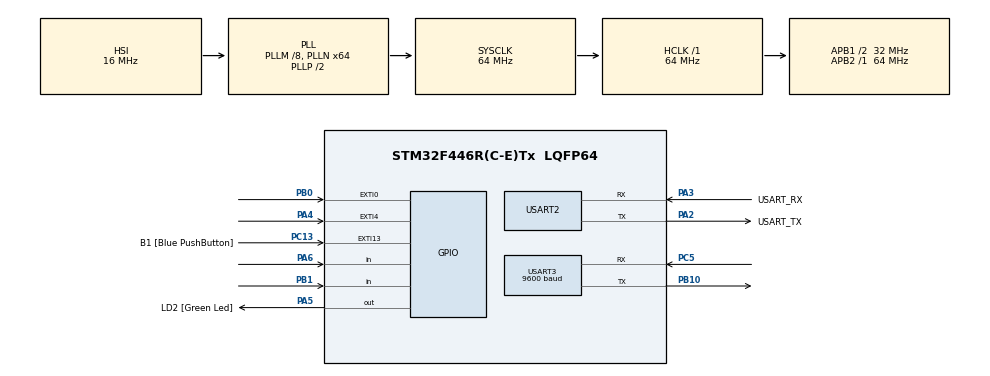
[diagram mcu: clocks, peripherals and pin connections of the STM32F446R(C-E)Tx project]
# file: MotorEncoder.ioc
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Mcu.Family=STM32F4
Mcu.Name=STM32F446R(C-E)Tx
Mcu.Package=LQFP64
NVIC.EXTI0_IRQn=true\:0\:0\:false\:false\:true\:true\:true\:true
NVIC.EXTI4_IRQn=true\:0\:0\:false\:false\:true\:true\:true\:true
NVIC.PriorityGroup=NVIC_PRIORITYGROUP_0
NVIC.TIM3_IRQn=true\:0\:0\:false\:false\:true\:true\:true\:true
NVIC.USART2_IRQn=true\:0\:0\:false\:false\:true\:true\:true\:true
NVIC.USART3_IRQn=true\:0\:0\:false\:false\:true\:true\:true\:true
PA13.GPIO_Label=TMS
PA13.Signal=SYS_JTMS-SWDIO
PA14.GPIO_Label=TCK
PA14.Signal=SYS_JTCK-SWCLK
PA2.GPIO_Label=USART_TX
PA2.Mode=Asynchronous
PA2.Signal=USART2_TX
PA3.GPIO_Label=USART_RX
PA3.Mode=Asynchronous
PA3.Signal=USART2_RX
PA4.Signal=GPXTI4
PA5.GPIO_Label=LD2 [Green Led]
PA5.Signal=GPIO_Output
PA6.Signal=GPIO_Input
PB0.Signal=GPXTI0
PB1.Signal=GPIO_Input
PB10.Mode=Asynchronous
PB10.Signal=USART3_TX
PB3.GPIO_Label=SWO
PB3.Signal=SYS_JTDO-SWO
PC13.GPIO_Label=B1 [Blue PushButton]
PC13.GPIO_ModeDefaultEXTI=GPIO_MODE_IT_FALLING
PC13.Signal=GPXTI13
PC14-OSC32_IN.Signal=RCC_OSC32_IN
PC15-OSC32_OUT.Signal=RCC_OSC32_OUT
PC5.Mode=Asynchronous
PC5.Signal=USART3_RX
PH0-OSC_IN.Mode=HSE-External-Oscillator
PH0-OSC_IN.Signal=RCC_OSC_IN
PH1-OSC_OUT.Mode=HSE-External-Oscillator
PH1-OSC_OUT.Signal=RCC_OSC_OUT
ProjectManager.HeapSize=0x200
ProjectManager.StackSize=0x400
ProjectManager.TargetToolchain=STM32CubeIDE
RCC.AHBFreq_Value=64000000
RCC.APB1CLKDivider=RCC_HCLK_DIV2
RCC.APB1Freq_Value=32000000
RCC.APB1TimFreq_Value=64000000
RCC.APB2Freq_Value=64000000
RCC.APB2TimFreq_Value=64000000
RCC.CortexFreq_Value=64000000
RCC.FLatency-AdvancedSettings=FLASH_LATENCY_2
RCC.HCLKFreq_Value=64000000
RCC.HSE_VALUE=8000000
RCC.HSI_VALUE=16000000
RCC.LSE_VALUE=32768
RCC.PLLM=8
RCC.PLLN=64
RCC.SYSCLKFreq_VALUE=64000000
RCC.SYSCLKSource=RCC_SYSCLKSOURCE_PLLCLK
RCC.USBFreq_Value=64000000
RCC.VCOOutputFreq_Value=128000000
TIM3.Period=10000
TIM3.Prescaler=6399
USART2.VirtualMode=VM_ASYNC
USART3.BaudRate=9600
USART3.VirtualMode=VM_ASYNC
VP_TIM3_VS_ClockSourceINT.Mode=Internal
board=NUCLEO-F446RE

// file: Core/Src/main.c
/* USER CODE BEGIN Header */
/**
  ******************************************************************************
  * @file           : main.c
  * @brief          : Main program body
  ******************************************************************************
  * @attention
  *
  * Copyright (c) 2022 STMicroelectronics.
  * All rights reserved.
  *
  * This software is licensed under terms that can be found in the LICENSE file
  * in the root directory of this software component.
  * If no LICENSE file comes with this software, it is provided AS-IS.
  *
  ******************************************************************************
  */
/* USER CODE END Header */
#include "main.h"

/* USER CODE BEGIN Includes */
#include <math.h>

/* USER CODE END Includes */

/* USER CODE BEGIN PD */
#define DEPLOY
#define PULSES_PER_ROTATION 615
#define SECS_PER_MIN 60
#define FORWARD 48
#define REVERSE 49
#define LEFT 50
#define RIGHT 51

//current instructions for motor controller
uint8_t left;
uint8_t right;

//count of pulses since last velocity calculation
long leftPulse;
long rightPulse;

//last calculated velocity for each side of the rover
float leftVelocity;
float rightVelocity;
float velocities[2];

//constants
const float rpmToAngular = 0.10471975512;
const float wheelRad = 0.079;

/* USER CODE END PD */

TIM_HandleTypeDef htim3;

UART_HandleTypeDef huart2;
UART_HandleTypeDef huart3;

void SystemClock_Config(void);
static void MX_GPIO_Init(void);
static void MX_USART2_UART_Init(void);
static void MX_USART3_UART_Init(void);
static void MX_TIM3_Init(void);

int main(void)
{

  /* MCU Configuration--------------------------------------------------------*/

  /* Reset of all peripherals, Initializes the Flash interface and the Systick. */
  HAL_Init();

  /* Configure the system clock */
  SystemClock_Config();

  /* Initialize all configured peripherals */
  MX_GPIO_Init();
  MX_USART2_UART_Init();
  MX_USART3_UART_Init();
  MX_TIM3_Init();
  /* USER CODE BEGIN 2 */
#ifdef DEPLOY
  uint16_t header = 0;
  uint8_t linear = 0;
  uint8_t angular = 0;
  uint8_t rxBuffer[4];
  uint8_t index = 0;
#endif

#ifdef TEST
  uint8_t rxBuffer = 0;
  uint8_t left = 0;
  uint8_t right = 0;
#endif

  if (HAL_TIM_Base_Start_IT(&htim3) != HAL_OK)
  {
    /* Starting Error */
    Error_Handler();
  }
  /* USER CODE END 2 */

  /* Infinite loop */
  while (1)
  {

    /* USER CODE BEGIN 3 */
#ifdef DEPLOY

	  uint8_t byte;
	  while(!(HAL_UART_Receive(&huart2, &byte, 1, 100) == HAL_OK)){};

	  rxBuffer[3] = byte;

	  header = rxBuffer[0] + rxBuffer[1];
	  linear = rxBuffer[2];
	  angular = rxBuffer[3];

	  if(rxBuffer[0] == 129 &&  rxBuffer[1] ==  129 && rxBuffer[2] != 129 && rxBuffer[3] != 129){

		  //both sides at same speed in same direction
		  if(linear > 0 && linear < 256){
			left = floor(linear/2);
			right = left + 128;
		  //both sides at same speed in opposite directions
		  } else if (angular > 0 && angular < 256){
			left = floor(angular/2);
			right = 256 - left;
			//stop
		  } else {
			 left = 0;
			 right = 0;
		  }

		  HAL_UART_Transmit(&huart3, &left, sizeof(left), 1000);
		  HAL_UART_Transmit(&huart3, &right, sizeof(right), 1000);

	  }

//	  if(rxBuffer[0] == 129 &&  rxBuffer[1] ==  129 && rxBuffer[2] ==  129  && rxBuffer[3] ==  129 ){
//		  //uh oh
//		  right = 0;
//	  }
//
//	  if(rxBuffer[0] == 0 &&  rxBuffer[1] ==  0 && rxBuffer[2] ==  0  && rxBuffer[3] ==  0 ){
//		  //uh oh
//		  right = 0;
//	  }

	  rxBuffer[0] = rxBuffer[1];
	  rxBuffer[1] = rxBuffer[2];
	  rxBuffer[2] = rxBuffer[3];
#endif

#ifdef TEST
	  while(!(HAL_UART_Receive(&huart2, &rxBuffer, 1, 100) == HAL_OK)){};
	  HAL_UART_Transmit(&huart2, &rxBuffer, 1, 1000);

	  if(rxBuffer == FORWARD){
		  left = 127;
		  right = 255;
	  } else if (rxBuffer == REVERSE){
		  left = 1;
		  right = 128;
	  } else if (rxBuffer == LEFT){
		  left = 1;
		  right = 255;
	  } else if (rxBuffer == RIGHT){
		  left = 127;
		  right = 128;
	  } else {
		  left = 0;
		  right = 0;
	  }

	  HAL_UART_Transmit(&huart3, &left, sizeof(left), 1000);
	  HAL_UART_Transmit(&huart3, &right, sizeof(right), 1000);
#endif
  }
  /* USER CODE END 3 */
}

void SystemClock_Config(void)
{
  RCC_OscInitTypeDef RCC_OscInitStruct = {0};
  RCC_ClkInitTypeDef RCC_ClkInitStruct = {0};

  /** Configure the main internal regulator output voltage
  */
  __HAL_RCC_PWR_CLK_ENABLE();
  __HAL_PWR_VOLTAGESCALING_CONFIG(PWR_REGULATOR_VOLTAGE_SCALE3);

  /** Initializes the RCC Oscillators according to the specified parameters
  * in the RCC_OscInitTypeDef structure.
  */
  RCC_OscInitStruct.OscillatorType = RCC_OSCILLATORTYPE_HSI;
  RCC_OscInitStruct.HSIState = RCC_HSI_ON;
  RCC_OscInitStruct.HSICalibrationValue = RCC_HSICALIBRATION_DEFAULT;
  RCC_OscInitStruct.PLL.PLLState = RCC_PLL_ON;
  RCC_OscInitStruct.PLL.PLLSource = RCC_PLLSOURCE_HSI;
  RCC_OscInitStruct.PLL.PLLM = 8;
  RCC_OscInitStruct.PLL.PLLN = 64;
  RCC_OscInitStruct.PLL.PLLP = RCC_PLLP_DIV2;
  RCC_OscInitStruct.PLL.PLLQ = 2;
  RCC_OscInitStruct.PLL.PLLR = 2;
  if (HAL_RCC_OscConfig(&RCC_OscInitStruct) != HAL_OK)
  {
    Error_Handler();
  }

  /** Initializes the CPU, AHB and APB buses clocks
  */
  RCC_ClkInitStruct.ClockType = RCC_CLOCKTYPE_HCLK|RCC_CLOCKTYPE_SYSCLK
                              |RCC_CLOCKTYPE_PCLK1|RCC_CLOCKTYPE_PCLK2;
  RCC_ClkInitStruct.SYSCLKSource = RCC_SYSCLKSOURCE_PLLCLK;
  RCC_ClkInitStruct.AHBCLKDivider = RCC_SYSCLK_DIV1;
  RCC_ClkInitStruct.APB1CLKDivider = RCC_HCLK_DIV2;
  RCC_ClkInitStruct.APB2CLKDivider = RCC_HCLK_DIV1;

  if (HAL_RCC_ClockConfig(&RCC_ClkInitStruct, FLASH_LATENCY_2) != HAL_OK)
  {
    Error_Handler();
  }
}

static void MX_TIM3_Init(void)
{

  TIM_ClockConfigTypeDef sClockSourceConfig = {0};
  TIM_MasterConfigTypeDef sMasterConfig = {0};

  htim3.Instance = TIM3;
  htim3.Init.Prescaler = 6399;
  htim3.Init.CounterMode = TIM_COUNTERMODE_UP;
  htim3.Init.Period = 10000;
  htim3.Init.ClockDivision = TIM_CLOCKDIVISION_DIV1;
  htim3.Init.AutoReloadPreload = TIM_AUTORELOAD_PRELOAD_DISABLE;
  if (HAL_TIM_Base_Init(&htim3) != HAL_OK)
  {
    Error_Handler();
  }
  sClockSourceConfig.ClockSource = TIM_CLOCKSOURCE_INTERNAL;
  if (HAL_TIM_ConfigClockSource(&htim3, &sClockSourceConfig) != HAL_OK)
  {
    Error_Handler();
  }
  sMasterConfig.MasterOutputTrigger = TIM_TRGO_RESET;
  sMasterConfig.MasterSlaveMode = TIM_MASTERSLAVEMODE_DISABLE;
  if (HAL_TIMEx_MasterConfigSynchronization(&htim3, &sMasterConfig) != HAL_OK)
  {
    Error_Handler();
  }

}

static void MX_USART2_UART_Init(void)
{

  huart2.Instance = USART2;
  huart2.Init.BaudRate = 115200;
  huart2.Init.WordLength = UART_WORDLENGTH_8B;
  huart2.Init.StopBits = UART_STOPBITS_1;
  huart2.Init.Parity = UART_PARITY_NONE;
  huart2.Init.Mode = UART_MODE_TX_RX;
  huart2.Init.HwFlowCtl = UART_HWCONTROL_RTS_CTS;
  huart2.Init.OverSampling = UART_OVERSAMPLING_16;
  if (HAL_UART_Init(&huart2) != HAL_OK)
  {
    Error_Handler();
  }

}

static void MX_USART3_UART_Init(void)
{

  huart3.Instance = USART3;
  huart3.Init.BaudRate = 9600;
  huart3.Init.WordLength = UART_WORDLENGTH_8B;
  huart3.Init.StopBits = UART_STOPBITS_1;
  huart3.Init.Parity = UART_PARITY_NONE;
  huart3.Init.Mode = UART_MODE_TX_RX;
  huart3.Init.HwFlowCtl = UART_HWCONTROL_NONE;
  huart3.Init.OverSampling = UART_OVERSAMPLING_16;
  if (HAL_UART_Init(&huart3) != HAL_OK)
  {
    Error_Handler();
  }

}

static void MX_GPIO_Init(void)
{
  GPIO_InitTypeDef GPIO_InitStruct = {0};

  /* GPIO Ports Clock Enable */
  __HAL_RCC_GPIOC_CLK_ENABLE();
  __HAL_RCC_GPIOH_CLK_ENABLE();
  __HAL_RCC_GPIOA_CLK_ENABLE();
  __HAL_RCC_GPIOB_CLK_ENABLE();

  /*Configure GPIO pin Output Level */
  HAL_GPIO_WritePin(LD2_GPIO_Port, LD2_Pin, GPIO_PIN_RESET);

  /*Configure GPIO pin : B1_Pin */
  GPIO_InitStruct.Pin = B1_Pin;
  GPIO_InitStruct.Mode = GPIO_MODE_IT_FALLING;
  GPIO_InitStruct.Pull = GPIO_NOPULL;
  HAL_GPIO_Init(B1_GPIO_Port, &GPIO_InitStruct);

  /*Configure GPIO pin : PA4 */
  GPIO_InitStruct.Pin = GPIO_PIN_4;
  GPIO_InitStruct.Mode = GPIO_MODE_IT_RISING;
  GPIO_InitStruct.Pull = GPIO_NOPULL;
  HAL_GPIO_Init(GPIOA, &GPIO_InitStruct);

  /*Configure GPIO pin : LD2_Pin */
  GPIO_InitStruct.Pin = LD2_Pin;
  GPIO_InitStruct.Mode = GPIO_MODE_OUTPUT_PP;
  GPIO_InitStruct.Pull = GPIO_NOPULL;
  GPIO_InitStruct.Speed = GPIO_SPEED_FREQ_LOW;
  HAL_GPIO_Init(LD2_GPIO_Port, &GPIO_InitStruct);

  /*Configure GPIO pin : PA6 */
  GPIO_InitStruct.Pin = GPIO_PIN_6;
  GPIO_InitStruct.Mode = GPIO_MODE_INPUT;
  GPIO_InitStruct.Pull = GPIO_NOPULL;
  HAL_GPIO_Init(GPIOA, &GPIO_InitStruct);

  /*Configure GPIO pin : PB0 */
  GPIO_InitStruct.Pin = GPIO_PIN_0;
  GPIO_InitStruct.Mode = GPIO_MODE_IT_RISING;
  GPIO_InitStruct.Pull = GPIO_NOPULL;
  HAL_GPIO_Init(GPIOB, &GPIO_InitStruct);

  /*Configure GPIO pin : PB1 */
  GPIO_InitStruct.Pin = GPIO_PIN_1;
  GPIO_InitStruct.Mode = GPIO_MODE_INPUT;
  GPIO_InitStruct.Pull = GPIO_NOPULL;
  HAL_GPIO_Init(GPIOB, &GPIO_InitStruct);

  /* EXTI interrupt init*/
  HAL_NVIC_SetPriority(EXTI0_IRQn, 0, 0);
  HAL_NVIC_EnableIRQ(EXTI0_IRQn);

  HAL_NVIC_SetPriority(EXTI4_IRQn, 0, 0);
  HAL_NVIC_EnableIRQ(EXTI4_IRQn);

}

/* USER CODE BEGIN 4 */
void HAL_GPIO_EXTI_Callback(uint16_t GPIO_Pin){

	//Left side pulse
	if(GPIO_Pin == GPIO_PIN_4){

		//count encoder pulses
		if(HAL_GPIO_ReadPin(GPIOA, GPIO_PIN_6) == GPIO_PIN_SET) {
			leftPulse -= 1;
		} else {
			leftPulse += 1;
		}
	}

	//Right side pulse
	else if(GPIO_Pin == GPIO_PIN_0){

		//count encoder pulses
		if(HAL_GPIO_ReadPin(GPIOB, GPIO_PIN_1) == GPIO_PIN_SET) {
			rightPulse += 1;
		} else {
			rightPulse -= 1;
		}

	}
}

void HAL_TIM_PeriodElapsedCallback(TIM_HandleTypeDef *htim)
{
  // Check which version of the timer triggered this callback and toggle LED
  if (htim == &htim3 )
  {
    float leftRPM = leftPulse * SECS_PER_MIN/PULSES_PER_ROTATION;
    float rightRPM = rightPulse * SECS_PER_MIN/PULSES_PER_ROTATION;
    float leftAngular = leftRPM * rpmToAngular;
    float rightAngular = rightRPM * rpmToAngular;
    leftVelocity = leftAngular * wheelRad;
    rightVelocity = rightAngular * wheelRad;

    velocities[0] = leftVelocity;
    velocities[1] = rightVelocity;

    // change huartX to your initialized HAL UART peripheral
    HAL_UART_Transmit(&huart2, (uint8_t *)&velocities, sizeof(velocities), HAL_MAX_DELAY);

    leftPulse = 0;
    rightPulse = 0;

  }
}
/* USER CODE END 4 */

void Error_Handler(void)
{
  __disable_irq();
  while (1)
  {
  }
}
